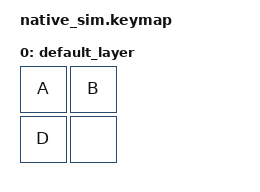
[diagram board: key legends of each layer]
#include <dt-bindings/zmk/keys.h>
#include <behaviors.dtsi>
#include <dt-bindings/zmk/kscan_mock.h>

/ {
    combos {
        compatible = "dax,runtime-combo-defaults";
        combo_one {
            timeout-ms = <30>;
            key-positions = <0 1>;
            bindings = <&kp C>;
            /* no slow-release! */
        };
    };

    keymap {
        compatible = "zmk,keymap";

        default_layer {
            bindings = <
                &kp A &kp B
                &kp D &none
            >;
        };
    };
};

&kscan {
    events = <
        ZMK_MOCK_PRESS(0,0,10)
        ZMK_MOCK_PRESS(0,1,10)
        ZMK_MOCK_RELEASE(0,0,10) /* this should release the combo */
        ZMK_MOCK_PRESS(1,0,10)
        ZMK_MOCK_RELEASE(0,1,10)
        ZMK_MOCK_RELEASE(1,0,10)
    >;
};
